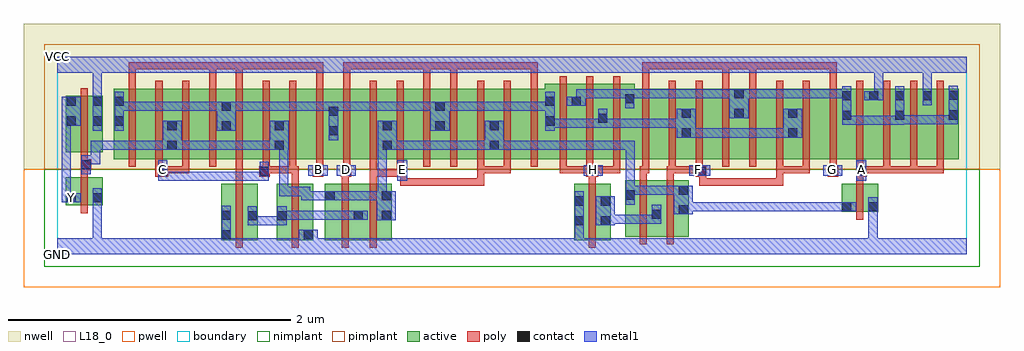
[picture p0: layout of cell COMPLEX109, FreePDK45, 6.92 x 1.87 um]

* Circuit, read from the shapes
.subckt COMPLEX109 A B C D E F G GND H VCC Y
M1 GND n1 Y VSUBS nfet w=0.2u l=0.05u
M2 n2 B GND VSUBS nfet w=0.4u l=0.05u
M3 GND C n2 VSUBS nfet w=0.4u l=0.05u
M4 n2 D n1 VSUBS nfet w=0.4u l=0.05u
M5 n1 E n2 VSUBS nfet w=0.4u l=0.05u
M6 n3 H GND VSUBS nfet w=0.4u l=0.05u
M7 n3 G n1 VSUBS nfet w=0.4u l=0.05u
M8 n1 F n3 VSUBS nfet w=0.4u l=0.05u
M9 GND A n1 VSUBS nfet w=0.2u l=0.05u
M10 VCC n1 Y n4 pfet w=0.4u l=0.05u
M11 n5 B n6 n4 pfet w=0.5u l=0.05u
M12 n1 C n5 n4 pfet w=0.5u l=0.05u
M13 n7 C n1 n4 pfet w=0.5u l=0.05u
M14 n6 B n7 n4 pfet w=0.5u l=0.05u
M15 n8 B n6 n4 pfet w=0.5u l=0.05u
M16 n1 C n8 n4 pfet w=0.5u l=0.05u
M17 n9 C n1 n4 pfet w=0.5u l=0.05u
M18 n6 B n9 n4 pfet w=0.5u l=0.05u
M19 n10 D n6 n4 pfet w=0.5u l=0.05u
M20 n1 E n10 n4 pfet w=0.5u l=0.05u
M21 n11 E n1 n4 pfet w=0.5u l=0.05u
M22 n6 D n11 n4 pfet w=0.5u l=0.05u
M23 n12 D n6 n4 pfet w=0.5u l=0.05u
M24 n1 E n12 n4 pfet w=0.5u l=0.05u
M25 n13 E n1 n4 pfet w=0.5u l=0.05u
M26 n6 D n13 n4 pfet w=0.5u l=0.05u
M27 n14 H n6 n4 pfet w=0.532u l=0.05u m=3
M28 n15 G n14 n4 pfet w=0.5u l=0.05u
M29 n6 F n15 n4 pfet w=0.5u l=0.05u
M30 n16 F n6 n4 pfet w=0.5u l=0.05u
M31 n14 G n16 n4 pfet w=0.5u l=0.05u
M32 n17 G n14 n4 pfet w=0.5u l=0.05u
M33 n6 F n17 n4 pfet w=0.5u l=0.05u
M34 n18 F n6 n4 pfet w=0.5u l=0.05u
M35 n14 G n18 n4 pfet w=0.5u l=0.05u
M36 VCC A n14 n4 pfet w=0.5u l=0.05u m=4
.ends

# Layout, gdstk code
import gdstk
lib = gdstk.Library(unit=1e-6, precision=1e-09)
def R(c, l, rs):  # rectangles x0, y0, x1, y1
    for r in rs: c.add(gdstk.rectangle(r[:2], r[2:], *l))
def A(c, l, x, y, w, h, nx, ny, dx, dy):  # array of equal rectangles
    R(c, l, [(x+i*dx, y+j*dy, x+i*dx+w, y+j*dy+h) for i in range(nx) for j in range(ny)])
active = (1, 0)
pwell = (2, 0)
nwell = (3, 0)
nimplant = (4, 0)
pimplant = (5, 0)
poly = (9, 0)
contact = (10, 0)
metal1 = (11, 0)
L18_0 = (18, 0)
boundary = (235, 0)

complex109 = lib.new_cell('COMPLEX109')
R(complex109, active, [(1.162,0.1,1.422,0.5), (1.162,0.1,1.237,0.5), (1.557,0.1,1.817,0.5), (1.742,0.1,1.817,0.5), (1.897,0.1,2.172,0.5), (2.097,0.1,2.372,0.5), (3.665,0.1,3.925,0.5), (4.027,0.125,4.287,0.525), (4.212,0.125,4.477,0.525), (1.347,0.147,1.422,0.5), (1.557,0.147,1.632,0.5), (1.897,0.147,1.972,0.5), (2.097,0.147,2.172,0.492), (2.297,0.147,2.372,0.5), (3.665,0.147,3.74,0.5), (3.85,0.147,3.925,0.5), (4.027,0.147,4.102,0.525), (4.212,0.147,4.287,0.492), (4.402,0.147,4.477,0.525), (5.562,0.3,5.637,0.5), (5.562,0.3,5.822,0.5), (5.747,0.3,5.822,0.5), (0.062,0.347,0.137,0.547), (0.062,0.347,0.322,0.547), (0.247,0.347,0.322,0.547), (0.402,0.675,0.627,1.175), (0.402,0.675,0.477,1.157), (0.627,0.675,0.852,1.175), (0.777,0.675,1.007,1.175), (1.007,0.675,1.237,1.175), (1.162,0.675,1.387,1.175), (1.387,0.675,1.612,1.175), (1.537,0.675,1.767,1.175), (1.767,0.675,1.997,1.175), (1.922,0.675,2.147,1.175), (1.922,0.675,1.997,1.157), (2.147,0.675,2.377,1.175), (2.302,0.675,2.527,1.175), (2.527,0.675,2.752,1.175), (2.677,0.675,2.907,1.175), (2.907,0.675,3.137,1.175), (3.062,0.675,3.287,1.175), (3.287,0.675,3.532,1.175), (3.457,0.675,3.717,1.207), (3.642,0.675,3.907,1.207), (3.832,0.675,4.097,1.207), (4.022,0.675,4.267,1.175), (4.267,0.675,4.497,1.175), (4.422,0.675,4.647,1.175), (4.647,0.675,4.872,1.175), (4.797,0.675,5.027,1.175), (5.027,0.675,5.252,1.175), (5.177,0.675,5.407,1.175), (5.407,0.675,5.637,1.175), (5.562,0.675,5.827,1.175), (5.752,0.675,6.012,1.175), (5.937,0.675,6.207,1.175), (6.132,0.675,6.392,1.175), (6.317,0.675,6.392,1.175), (0.777,0.682,0.852,1.07), (1.537,0.682,1.612,1.07), (2.302,0.682,2.377,1.07), (3.062,0.682,3.137,1.07), (4.422,0.682,4.497,1.07), (5.177,0.682,5.252,1.07), (0.062,0.722,0.322,1.122), (0.062,0.722,0.137,1.122), (0.247,0.722,0.322,1.122), (1.162,0.762,1.237,1.157), (2.677,0.762,2.752,1.157), (4.797,0.762,4.872,1.175), (3.457,0.775,3.532,1.157), (3.642,0.775,3.717,1.2), (3.832,0.775,3.907,1.07), (4.022,0.775,4.097,1.157), (5.562,0.807,5.637,1.162), (5.752,0.807,5.827,1.175), (5.937,0.807,6.012,1.162), (6.132,0.807,6.207,1.162)])
R(complex109, pwell, [(-0.235,-0.235,6.685,0.602)])
R(complex109, nwell, [(-0.235,0.602,6.685,1.635)])
R(complex109, nimplant, [(-0.09,-0.09,6.54,0.602)])
R(complex109, pimplant, [(-0.09,0.602,6.54,1.49)])
A(complex109, poly, 1.267, 0.575, 0.05, 0.095, 5, 1, 0.19, 0)
A(complex109, poly, 3.562, 0.575, 0.05, 0.095, 3, 1, 0.19, 0)
A(complex109, poly, 4.147, 0.575, 0.05, 0.095, 3, 1, 0.19, 0)
A(complex109, poly, 4.337, 0.575, 0.24, 0.05, 3, 1, 0.76, 0)
A(complex109, poly, 5.097, 0.575, 0.05, 0.095, 7, 1, 0.19, 0)
A(complex109, poly, 0.507, 0.62, 0.05, 0.61, 16, 1, 0.19, 0)
A(complex109, poly, 3.562, 0.62, 0.05, 0.642, 3, 1, 0.19, 0)
A(complex109, poly, 4.147, 0.62, 0.05, 0.61, 12, 1, 0.19, 0)
R(complex109, poly, [(1.267,0.045,1.317,0.555), (1.662,0.045,1.712,0.555), (2.017,0.045,2.067,0.555), (2.217,0.045,2.267,0.555), (3.77,0.045,3.82,0.555), (4.132,0.07,4.182,0.58), (4.322,0.07,4.372,0.58), (5.667,0.245,5.717,0.555), (0.167,0.292,0.217,0.602), (2.432,0.487,2.482,0.6), (2.432,0.487,2.705,0.537), (2.655,0.487,2.705,0.537), (2.655,0.487,2.705,0.537), (2.655,0.487,2.705,0.537), (2.655,0.487,2.837,0.537), (2.787,0.487,2.837,0.537), (2.787,0.487,3.027,0.537), (2.977,0.487,3.027,0.537), (2.977,0.487,3.027,0.537), (2.977,0.487,3.027,0.625), (4.552,0.487,4.735,0.537), (4.552,0.487,4.602,0.6), (4.685,0.487,4.735,0.537), (4.685,0.487,5.015,0.537), (4.965,0.487,5.015,0.537), (4.965,0.487,5.015,0.537), (4.965,0.487,5.015,0.537), (4.965,0.487,5.147,0.537), (5.097,0.487,5.147,0.537), (5.097,0.487,5.147,0.537), (5.097,0.487,5.147,0.625), (1.267,0.505,1.317,0.625), (1.662,0.505,1.712,0.625), (2.017,0.505,2.067,0.6), (2.217,0.505,2.267,0.6), (3.77,0.505,3.82,0.6), (5.667,0.505,5.717,0.6), (4.132,0.53,4.182,0.625), (4.322,0.53,4.372,0.625), (0.697,0.55,0.787,0.625), (1.432,0.55,1.507,0.625), (1.812,0.55,1.887,0.625), (2.012,0.55,2.087,0.625), (2.217,0.55,2.267,0.6), (2.217,0.55,2.267,0.6), (2.217,0.55,2.267,0.6), (2.217,0.55,2.457,0.6), (2.217,0.55,2.267,0.67), (2.407,0.55,2.482,0.625), (2.432,0.55,2.482,0.6), (3.752,0.55,3.837,0.625), (4.527,0.55,4.602,0.625), (4.552,0.55,4.602,0.6), (5.462,0.55,5.537,0.625), (5.667,0.55,5.742,0.625), (0.167,0.552,0.217,0.647), (0.697,0.575,0.747,0.67), (0.737,0.575,0.787,0.625), (0.737,0.575,0.787,0.625), (0.737,0.575,0.937,0.625), (0.887,0.575,0.937,0.67), (0.887,0.575,0.937,0.625), (1.267,0.575,1.317,0.625), (1.457,0.575,1.507,0.625), (1.457,0.575,1.507,0.625), (1.457,0.575,1.697,0.625), (1.647,0.575,1.712,0.625), (2.407,0.575,2.457,0.67), (2.977,0.575,3.027,0.67), (2.977,0.575,3.217,0.625), (3.167,0.575,3.217,0.67), (3.167,0.575,3.217,0.625), (3.167,0.575,3.217,0.625), (3.167,0.575,3.217,0.625), (3.562,0.575,3.612,0.625), (3.562,0.575,3.802,0.625), (3.752,0.575,3.802,0.625), (3.752,0.575,3.802,0.625), (3.787,0.575,3.992,0.625), (3.942,0.575,3.992,0.625), (3.942,0.575,3.992,0.625), (3.942,0.575,3.992,0.625), (4.132,0.575,4.197,0.625), (4.322,0.575,4.387,0.625), (4.337,0.575,4.387,0.625), (4.337,0.575,4.387,0.625), (5.287,0.575,5.337,0.625), (5.287,0.575,5.337,0.625), (5.287,0.575,5.337,0.625), (5.692,0.575,5.907,0.625), (5.857,0.575,5.907,0.625), (5.857,0.575,5.907,0.625), (5.857,0.575,5.907,0.625), (6.047,0.575,6.097,0.625), (6.047,0.575,6.097,0.625), (6.047,0.575,6.097,0.625), (6.047,0.575,6.287,0.625), (6.237,0.575,6.287,0.625), (6.237,0.575,6.287,0.625), (6.237,0.575,6.287,0.625), (0.167,0.597,0.242,0.672), (0.167,0.622,0.217,0.717), (0.167,0.667,0.217,1.177), (0.507,1.18,0.557,1.362), (1.077,1.18,1.127,1.362), (1.267,1.18,1.317,1.362), (1.837,1.18,1.887,1.362), (2.027,1.18,2.077,1.362), (2.597,1.18,2.647,1.362), (2.787,1.18,2.837,1.362), (3.357,1.18,3.407,1.362), (4.147,1.18,4.197,1.362), (4.717,1.18,4.767,1.362), (4.907,1.18,4.957,1.362), (5.477,1.18,5.527,1.362), (0.507,1.312,0.557,1.362), (0.507,1.312,0.557,1.362), (0.507,1.312,0.557,1.362), (0.507,1.312,0.805,1.362), (0.755,1.312,0.805,1.362), (0.755,1.312,0.805,1.362), (0.755,1.312,0.805,1.362), (0.755,1.312,0.995,1.362), (0.945,1.312,0.995,1.362), (0.945,1.312,0.995,1.362), (0.945,1.312,0.995,1.362), (0.945,1.312,1.127,1.362), (1.077,1.312,1.127,1.362), (1.077,1.312,1.127,1.362), (1.077,1.312,1.127,1.362), (1.077,1.312,1.317,1.362), (1.267,1.312,1.317,1.362), (1.267,1.312,1.317,1.362), (1.267,1.312,1.317,1.362), (1.267,1.312,1.45,1.362), (1.4,1.312,1.45,1.362), (1.4,1.312,1.64,1.362), (1.59,1.312,1.64,1.362), (1.59,1.312,1.64,1.362), (1.59,1.312,1.64,1.362), (1.59,1.312,1.887,1.362), (1.837,1.312,1.887,1.362), (1.837,1.312,1.887,1.362), (1.837,1.312,1.887,1.362), (2.027,1.312,2.077,1.362), (2.027,1.312,2.077,1.362), (2.027,1.312,2.077,1.362), (2.027,1.312,2.325,1.362), (2.275,1.312,2.325,1.362), (2.275,1.312,2.325,1.362), (2.275,1.312,2.325,1.362), (2.275,1.312,2.457,1.362), (2.407,1.312,2.457,1.362), (2.407,1.312,2.457,1.362), (2.407,1.312,2.457,1.362), (2.407,1.312,2.647,1.362), (2.597,1.312,2.647,1.362), (2.597,1.312,2.647,1.362), (2.597,1.312,2.647,1.362), (2.597,1.312,2.837,1.362), (2.787,1.312,2.837,1.362), (2.787,1.312,2.837,1.362), (2.787,1.312,2.837,1.362), (2.787,1.312,3.007,1.362), (2.957,1.312,3.007,1.362), (2.957,1.312,3.16,1.362), (3.11,1.312,3.16,1.362), (3.11,1.312,3.16,1.362), (3.11,1.312,3.16,1.362), (3.11,1.312,3.407,1.362), (3.357,1.312,3.407,1.362), (3.357,1.312,3.407,1.362), (3.357,1.312,3.407,1.362), (4.147,1.312,4.197,1.362), (4.147,1.312,4.197,1.362), (4.147,1.312,4.197,1.362), (4.147,1.312,4.33,1.362), (4.28,1.312,4.33,1.362), (4.28,1.312,4.33,1.362), (4.28,1.312,4.33,1.362), (4.28,1.312,4.52,1.362), (4.47,1.312,4.52,1.362), (4.47,1.312,4.767,1.362), (4.717,1.312,4.767,1.362), (4.717,1.312,4.767,1.362), (4.717,1.312,4.767,1.362), (4.717,1.312,4.957,1.362), (4.907,1.312,4.957,1.362), (4.907,1.312,4.957,1.362), (4.907,1.312,4.957,1.362), (4.907,1.312,5.147,1.362), (5.097,1.312,5.147,1.362), (5.097,1.312,5.147,1.362), (5.097,1.312,5.147,1.362), (5.097,1.312,5.38,1.362), (5.33,1.312,5.38,1.362), (5.33,1.312,5.38,1.362), (5.33,1.312,5.38,1.362), (5.33,1.312,5.527,1.362), (5.477,1.312,5.527,1.362), (5.477,1.312,5.527,1.362), (5.477,1.312,5.527,1.362)])
R(complex109, contact, [(1.167,0.105,1.232,0.17), (1.747,0.107,1.812,0.172), (3.67,0.205,3.735,0.27), (3.855,0.205,3.92,0.27), (1.352,0.24,1.417,0.305), (1.562,0.24,1.627,0.305), (2.302,0.242,2.367,0.307), (1.167,0.245,1.232,0.31), (2.102,0.245,2.167,0.31), (4.217,0.25,4.282,0.315), (4.407,0.282,4.472,0.347), (5.567,0.305,5.632,0.37), (5.752,0.305,5.817,0.37), (3.67,0.345,3.735,0.41), (3.855,0.345,3.92,0.41), (0.067,0.367,0.132,0.432), (0.252,0.367,0.317,0.432), (1.902,0.382,1.967,0.447), (2.302,0.382,2.367,0.447), (4.032,0.387,4.097,0.452), (4.407,0.422,4.472,0.487), (0.717,0.555,0.782,0.62), (1.437,0.555,1.502,0.62), (1.817,0.555,1.882,0.62), (2.017,0.555,2.082,0.62), (2.412,0.555,2.477,0.62), (3.767,0.555,3.832,0.62), (4.532,0.555,4.597,0.62), (5.467,0.555,5.532,0.62), (5.672,0.555,5.737,0.62), (0.172,0.602,0.237,0.667), (0.782,0.74,0.847,0.805), (1.542,0.74,1.607,0.805), (2.307,0.74,2.372,0.805), (3.067,0.74,3.132,0.805), (4.427,0.827,4.492,0.892), (5.182,0.827,5.247,0.892), (1.927,0.842,1.992,0.907), (1.167,0.877,1.232,0.942), (2.682,0.877,2.747,0.942), (0.782,0.88,0.847,0.945), (1.542,0.88,1.607,0.945), (2.307,0.88,2.372,0.945), (3.067,0.88,3.132,0.945), (0.067,0.912,0.132,0.977), (0.252,0.912,0.317,0.977), (0.407,0.912,0.472,0.977), (3.462,0.912,3.527,0.977), (3.837,0.932,3.902,0.997), (5.567,0.952,5.632,1.017), (5.942,0.952,6.007,1.017), (6.322,0.955,6.387,1.02), (4.802,0.965,4.867,1.03), (4.427,0.967,4.492,1.032), (5.182,0.967,5.247,1.032), (1.927,0.982,1.992,1.047), (1.167,1.017,1.232,1.082), (2.682,1.017,2.747,1.082), (0.067,1.052,0.132,1.117), (0.252,1.052,0.317,1.117), (0.407,1.052,0.472,1.117), (3.462,1.052,3.527,1.117), (3.647,1.052,3.712,1.117), (4.027,1.07,4.092,1.135), (5.567,1.092,5.632,1.157), (5.757,1.092,5.822,1.157), (5.942,1.092,6.007,1.157), (6.137,1.092,6.202,1.157), (6.322,1.095,6.387,1.16), (4.802,1.105,4.867,1.17)])
R(complex109, metal1, [(0,0,6.45,0.115), (0.252,0.05,0.317,0.115), (0.252,0.05,0.317,0.115), (0.252,0.05,0.317,0.115), (0.252,0.05,0.317,0.115), (0.252,0.05,0.317,0.397), (1.167,0.05,1.232,0.135), (1.782,0.05,1.847,0.172), (3.67,0.05,3.735,0.235), (5.752,0.05,5.817,0.335), (1.167,0.07,1.232,0.345), (1.712,0.107,1.847,0.172), (3.67,0.17,3.735,0.445), (1.352,0.205,1.417,0.27), (1.352,0.205,1.417,0.27), (1.352,0.205,1.417,0.34), (1.352,0.205,1.627,0.27), (1.562,0.205,1.627,0.34), (3.82,0.205,3.955,0.41), (3.89,0.215,3.955,0.28), (3.89,0.215,3.955,0.28), (3.89,0.215,4.097,0.28), (4.032,0.215,4.097,0.28), (4.032,0.215,4.097,0.28), (4.032,0.215,4.097,0.28), (4.032,0.215,4.282,0.28), (4.217,0.215,4.282,0.35), (2.267,0.242,2.402,0.447), (1.562,0.245,1.64,0.31), (1.575,0.245,1.64,0.31), (1.575,0.245,1.777,0.31), (1.712,0.245,1.777,0.31), (1.712,0.245,1.777,0.31), (1.712,0.245,1.777,0.31), (1.712,0.245,1.947,0.31), (1.882,0.245,1.947,0.31), (1.882,0.245,1.947,0.31), (1.882,0.245,1.947,0.31), (1.882,0.245,2.132,0.31), (2.067,0.245,2.202,0.31), (5.752,0.27,5.817,0.335), (5.752,0.27,5.817,0.335), (5.752,0.27,5.817,0.335), (5.752,0.27,5.817,0.335), (5.752,0.27,5.817,0.405), (4.372,0.282,4.507,0.487), (4.442,0.305,4.527,0.37), (4.462,0.305,4.527,0.37), (4.462,0.305,4.665,0.37), (4.6,0.305,4.665,0.37), (4.6,0.305,4.902,0.37), (4.837,0.305,4.902,0.37), (4.837,0.305,4.902,0.37), (4.837,0.305,4.902,0.37), (4.837,0.305,5.04,0.37), (4.975,0.305,5.04,0.37), (4.975,0.305,5.04,0.37), (4.975,0.305,5.04,0.37), (4.975,0.305,5.177,0.37), (5.112,0.305,5.177,0.37), (5.112,0.305,5.315,0.37), (5.25,0.305,5.315,0.37), (5.25,0.305,5.315,0.37), (5.25,0.305,5.315,0.37), (5.25,0.305,5.46,0.37), (5.395,0.305,5.46,0.37), (5.395,0.305,5.46,0.37), (5.395,0.305,5.46,0.37), (5.395,0.305,5.597,0.37), (5.532,0.305,5.667,0.37), (0.252,0.332,0.317,0.467), (4.032,0.352,4.097,0.487), (0.032,0.367,0.097,0.432), (0.032,0.367,0.097,0.432), (0.032,0.367,0.167,0.432), (0.032,0.367,0.097,0.977), (1.73,0.382,1.932,0.447), (1.73,0.382,1.795,0.477), (1.867,0.382,2.002,0.447), (1.937,0.382,2.002,0.447), (1.937,0.382,2.002,0.447), (1.937,0.382,2.195,0.447), (2.13,0.382,2.195,0.447), (2.13,0.382,2.195,0.447), (2.13,0.382,2.195,0.447), (2.13,0.382,2.332,0.447), (2.272,0.382,2.337,0.447), (2.272,0.382,2.337,0.447), (2.272,0.382,2.337,0.805), (1.575,0.412,1.64,0.477), (1.575,0.412,1.64,0.477), (1.575,0.412,1.64,0.477), (1.575,0.412,1.64,0.477), (1.575,0.412,1.64,0.477), (1.575,0.412,1.795,0.477), (1.575,0.412,1.64,0.805), (1.73,0.412,1.795,0.477), (1.73,0.412,1.795,0.477), (4.032,0.422,4.235,0.487), (4.032,0.422,4.097,0.805), (4.17,0.422,4.235,0.487), (4.17,0.422,4.235,0.487), (4.17,0.422,4.235,0.487), (4.17,0.422,4.39,0.487), (4.325,0.422,4.39,0.487), (4.325,0.422,4.437,0.487), (0.717,0.52,0.922,0.585), (0.717,0.52,0.782,0.667), (0.857,0.52,0.922,0.585), (0.857,0.52,0.922,0.585), (0.857,0.52,0.922,0.585), (0.857,0.52,1.06,0.585), (0.995,0.52,1.06,0.585), (0.995,0.52,1.06,0.585), (0.995,0.52,1.06,0.585), (0.995,0.52,1.197,0.585), (1.132,0.52,1.197,0.585), (1.132,0.52,1.197,0.585), (1.132,0.52,1.197,0.585), (1.132,0.52,1.435,0.585), (1.37,0.52,1.435,0.585), (1.37,0.52,1.502,0.585), (1.437,0.52,1.502,0.655), (2.412,0.52,2.482,0.667), (5.667,0.52,5.737,0.667), (1.782,0.555,1.917,0.632), (1.982,0.555,2.117,0.632), (3.732,0.555,3.867,0.632), (4.482,0.555,4.632,0.632), (5.432,0.555,5.567,0.632), (0.172,0.567,0.237,0.702), (0.172,0.637,0.305,0.702), (0.24,0.637,0.305,0.702), (0.24,0.637,0.305,0.805), (0.24,0.74,0.305,0.805), (0.24,0.74,0.442,0.805), (0.377,0.74,0.442,0.805), (0.377,0.74,0.442,0.805), (0.377,0.74,0.442,0.805), (0.377,0.74,0.61,0.805), (0.545,0.74,0.61,0.805), (0.545,0.74,0.61,0.805), (0.545,0.74,0.61,0.805), (0.545,0.74,0.812,0.805), (0.747,0.74,0.882,0.945), (0.817,0.74,0.92,0.805), (0.855,0.74,0.92,0.805), (0.855,0.74,1.06,0.805), (0.995,0.74,1.06,0.805), (0.995,0.74,1.06,0.805), (0.995,0.74,1.06,0.805), (0.995,0.74,1.197,0.805), (1.132,0.74,1.197,0.805), (1.132,0.74,1.197,0.805), (1.132,0.74,1.197,0.805), (1.132,0.74,1.435,0.805), (1.37,0.74,1.435,0.805), (1.37,0.74,1.435,0.805), (1.37,0.74,1.435,0.805), (1.37,0.74,1.572,0.805), (1.507,0.74,1.642,0.945), (2.272,0.74,2.407,0.945), (2.342,0.74,2.407,0.805), (2.342,0.74,2.407,0.805), (2.342,0.74,2.575,0.805), (2.51,0.74,2.575,0.805), (2.51,0.74,2.712,0.805), (2.647,0.74,2.712,0.805), (2.647,0.74,2.712,0.805), (2.647,0.74,2.712,0.805), (2.647,0.74,2.92,0.805), (2.855,0.74,2.92,0.805), (2.855,0.74,2.92,0.805), (2.855,0.74,2.92,0.805), (2.855,0.74,3.097,0.805), (3.032,0.74,3.097,0.805), (3.032,0.74,3.097,0.805), (3.032,0.74,3.167,0.945), (3.102,0.74,3.235,0.805), (3.17,0.74,3.235,0.805), (3.17,0.74,3.39,0.805), (3.325,0.74,3.39,0.805), (3.325,0.74,3.39,0.805), (3.325,0.74,3.39,0.805), (3.325,0.74,3.54,0.805), (3.475,0.74,3.54,0.805), (3.475,0.74,3.54,0.805), (3.475,0.74,3.54,0.805), (3.475,0.74,3.747,0.805), (3.682,0.74,3.747,0.805), (3.682,0.74,3.747,0.805), (3.682,0.74,3.747,0.805), (3.682,0.74,3.885,0.805), (3.82,0.74,3.885,0.805), (3.82,0.74,3.885,0.805), (3.82,0.74,3.885,0.805), (3.82,0.74,4.097,0.805), (4.032,0.74,4.097,0.805), (4.032,0.74,4.097,0.805), (4.032,0.74,4.097,0.805), (1.927,0.807,1.992,1.082), (4.392,0.827,4.527,1.032), (4.462,0.827,4.527,0.892), (4.462,0.827,4.527,0.892), (4.462,0.827,4.695,0.892), (4.63,0.827,4.695,0.892), (4.63,0.827,4.695,0.892), (4.63,0.827,4.695,0.892), (4.63,0.827,4.832,0.892), (4.767,0.827,4.832,0.892), (4.767,0.827,5.04,0.892), (4.975,0.827,5.04,0.892), (4.975,0.827,5.04,0.892), (4.975,0.827,5.04,0.892), (4.975,0.827,5.177,0.892), (5.112,0.827,5.177,0.892), (5.112,0.827,5.212,0.892), (5.147,0.827,5.282,1.032), (0.252,0.877,0.317,1.152), (0.407,0.877,0.472,1.152), (1.132,0.877,1.267,1.082), (2.647,0.877,2.782,1.082), (3.462,0.877,3.527,1.152), (3.462,0.897,3.527,0.962), (3.462,0.897,3.527,0.962), (3.462,0.897,3.747,0.962), (3.682,0.897,3.747,0.962), (3.682,0.897,3.747,0.962), (3.682,0.897,3.747,0.962), (3.682,0.897,3.902,0.962), (3.837,0.897,3.902,0.962), (3.837,0.897,3.902,0.962), (3.837,0.897,3.902,1.032), (3.837,0.897,4.092,0.962), (4.027,0.897,4.092,0.962), (4.027,0.897,4.252,0.962), (4.187,0.897,4.252,0.962), (4.187,0.897,4.252,0.962), (4.187,0.897,4.252,0.962), (4.187,0.897,4.39,0.962), (4.325,0.897,4.39,0.962), (4.325,0.897,4.457,0.962), (0.032,0.912,0.097,0.977), (0.032,0.912,0.097,0.977), (0.032,0.912,0.167,1.117), (5.567,0.917,5.632,0.982), (5.567,0.917,5.632,0.982), (5.567,0.917,5.632,1.192), (5.567,0.917,5.77,0.982), (5.705,0.917,5.77,0.982), (5.705,0.917,5.77,0.982), (5.705,0.917,5.77,0.982), (5.705,0.917,6.007,0.982), (5.942,0.917,6.007,0.982), (5.942,0.917,6.007,0.982), (5.942,0.917,6.007,1.192), (5.942,0.92,6.145,0.985), (6.08,0.92,6.145,0.985), (6.08,0.92,6.145,0.985), (6.08,0.92,6.145,0.985), (6.08,0.92,6.387,0.985), (6.322,0.92,6.387,0.985), (6.322,0.92,6.387,0.985), (6.322,0.92,6.387,1.195), (4.767,0.965,4.902,1.17), (0.407,1.017,0.472,1.082), (0.407,1.017,0.472,1.082), (0.407,1.017,0.61,1.082), (0.545,1.017,0.61,1.082), (0.545,1.017,0.782,1.082), (0.717,1.017,0.782,1.082), (0.717,1.017,0.92,1.082), (0.855,1.017,0.92,1.082), (0.855,1.017,0.92,1.082), (0.855,1.017,0.92,1.082), (0.855,1.017,1.06,1.082), (0.995,1.017,1.06,1.082), (0.995,1.017,1.06,1.082), (0.995,1.017,1.06,1.082), (0.995,1.017,1.197,1.082), (1.202,1.017,1.267,1.082), (1.202,1.017,1.267,1.082), (1.202,1.017,1.435,1.082), (1.37,1.017,1.435,1.082), (1.37,1.017,1.435,1.082), (1.37,1.017,1.435,1.082), (1.37,1.017,1.64,1.082), (1.575,1.017,1.64,1.082), (1.575,1.017,1.64,1.082), (1.575,1.017,1.64,1.082), (1.575,1.017,1.777,1.082), (1.712,1.017,1.777,1.082), (1.712,1.017,1.777,1.082), (1.712,1.017,1.777,1.082), (1.712,1.017,1.992,1.082), (1.927,1.017,1.992,1.082), (1.927,1.017,1.992,1.082), (1.927,1.017,2.14,1.082), (2.075,1.017,2.14,1.082), (2.075,1.017,2.14,1.082), (2.075,1.017,2.14,1.082), (2.075,1.017,2.407,1.082), (2.342,1.017,2.407,1.082), (2.342,1.017,2.545,1.082), (2.48,1.017,2.545,1.082), (2.48,1.017,2.545,1.082), (2.48,1.017,2.545,1.082), (2.48,1.017,2.712,1.082), (2.647,1.017,2.712,1.082), (2.647,1.017,2.712,1.082), (2.717,1.017,2.92,1.082), (2.855,1.017,2.92,1.082), (2.855,1.017,2.92,1.082), (2.855,1.017,2.92,1.082), (2.855,1.017,3.057,1.082), (2.992,1.017,3.057,1.082), (2.992,1.017,3.235,1.082), (3.17,1.017,3.235,1.082), (3.17,1.017,3.235,1.082), (3.17,1.017,3.235,1.082), (3.17,1.017,3.39,1.082), (3.325,1.017,3.39,1.082), (3.325,1.017,3.39,1.082), (3.325,1.017,3.39,1.082), (3.325,1.017,3.527,1.082), (4.027,1.035,4.092,1.17), (3.612,1.052,3.747,1.117), (3.682,1.052,3.747,1.117), (3.682,1.052,3.747,1.17), (6.137,1.057,6.202,1.192), (0.252,1.087,0.317,1.35), (5.722,1.092,5.857,1.157), (5.792,1.092,5.857,1.35), (3.682,1.105,3.955,1.17), (3.89,1.105,3.955,1.17), (3.89,1.105,3.955,1.17), (3.89,1.105,3.955,1.17), (3.89,1.105,4.092,1.17), (4.027,1.105,4.092,1.17), (4.027,1.105,4.092,1.17), (4.027,1.105,4.3,1.17), (4.235,1.105,4.3,1.17), (4.235,1.105,4.39,1.17), (4.325,1.105,4.39,1.17), (4.325,1.105,4.527,1.17), (4.462,1.105,4.527,1.17), (4.462,1.105,4.527,1.17), (4.462,1.105,4.527,1.17), (4.462,1.105,4.695,1.17), (4.63,1.105,4.695,1.17), (4.63,1.105,4.832,1.17), (4.767,1.105,4.832,1.17), (4.767,1.105,4.832,1.17), (4.837,1.105,5.04,1.17), (4.975,1.105,5.04,1.17), (4.975,1.105,5.04,1.17), (4.975,1.105,5.04,1.17), (4.975,1.105,5.177,1.17), (5.112,1.105,5.177,1.17), (5.112,1.105,5.177,1.17), (5.112,1.105,5.177,1.17), (5.112,1.105,5.322,1.17), (5.257,1.105,5.322,1.17), (5.257,1.105,5.46,1.17), (5.395,1.105,5.46,1.17), (5.395,1.105,5.46,1.17), (5.395,1.105,5.46,1.17), (5.395,1.105,5.632,1.17), (6.137,1.127,6.202,1.35), (0,1.285,6.45,1.4), (0.252,1.285,0.317,1.35), (0.252,1.285,0.317,1.35), (5.792,1.285,5.857,1.35), (5.792,1.285,5.857,1.35), (6.137,1.285,6.202,1.35), (6.137,1.285,6.202,1.35)])
R(complex109, L18_0, [(0,0,6.45,0.115), (0.252,0.05,0.317,0.115), (0.252,0.05,0.317,0.115), (0.252,0.05,0.317,0.115), (0.252,0.05,0.317,0.115), (0.252,0.05,0.317,0.397), (1.167,0.05,1.232,0.135), (1.782,0.05,1.847,0.172), (3.67,0.05,3.735,0.235), (5.752,0.05,5.817,0.335), (1.167,0.07,1.232,0.345), (1.712,0.107,1.847,0.172), (3.67,0.17,3.735,0.445), (5.752,0.27,5.817,0.335), (5.752,0.27,5.817,0.335), (5.752,0.27,5.817,0.335), (5.752,0.27,5.817,0.335), (5.752,0.27,5.817,0.405), (0.252,0.332,0.317,0.467), (0.032,0.367,0.167,0.432), (0.032,0.367,0.097,0.432), (0.032,0.367,0.097,0.432), (0.032,0.367,0.097,0.977), (0.067,0.367,0.132,0.432), (0.717,0.52,0.782,0.667), (0.717,0.52,0.922,0.585), (0.857,0.52,0.922,0.585), (0.857,0.52,0.922,0.585), (0.857,0.52,0.922,0.585), (0.857,0.52,1.06,0.585), (0.995,0.52,1.06,0.585), (0.995,0.52,1.06,0.585), (0.995,0.52,1.06,0.585), (0.995,0.52,1.197,0.585), (1.132,0.52,1.197,0.585), (1.132,0.52,1.197,0.585), (1.132,0.52,1.197,0.585), (1.132,0.52,1.435,0.585), (1.37,0.52,1.435,0.585), (1.37,0.52,1.502,0.585), (1.437,0.52,1.502,0.655), (2.412,0.52,2.482,0.667), (5.667,0.52,5.737,0.667), (1.782,0.555,1.917,0.632), (1.982,0.555,2.117,0.632), (3.732,0.555,3.867,0.632), (4.482,0.555,4.632,0.632), (5.432,0.555,5.567,0.632), (0.717,0.567,0.782,0.632), (1.817,0.567,1.882,0.632), (2.017,0.567,2.082,0.632), (2.417,0.567,2.482,0.632), (3.767,0.567,3.832,0.632), (4.517,0.567,4.582,0.632), (5.467,0.567,5.532,0.632), (5.667,0.567,5.732,0.632), (0.252,0.877,0.317,1.152), (0.032,0.912,0.097,0.977), (0.032,0.912,0.097,0.977), (0.032,0.912,0.167,1.117), (6.137,1.057,6.202,1.192), (0.252,1.087,0.317,1.35), (5.722,1.092,5.857,1.157), (5.792,1.092,5.857,1.35), (6.137,1.127,6.202,1.35), (0,1.285,6.45,1.4), (0.252,1.285,0.317,1.35), (0.252,1.285,0.317,1.35), (5.792,1.285,5.857,1.35), (5.792,1.285,5.857,1.35), (6.137,1.285,6.202,1.35), (6.137,1.285,6.202,1.35)])
R(complex109, boundary, [(0,0,6.45,1.4)])
complex109.add(gdstk.Label('A', (5.7,0.6), layer=11, texttype=0))
complex109.add(gdstk.Label('B', (1.85,0.6), layer=11, texttype=0))
complex109.add(gdstk.Label('C', (0.75,0.6), layer=11, texttype=0))
complex109.add(gdstk.Label('D', (2.05,0.6), layer=11, texttype=0))
complex109.add(gdstk.Label('E', (2.45,0.6), layer=11, texttype=0))
complex109.add(gdstk.Label('F', (4.55,0.6), layer=11, texttype=0))
complex109.add(gdstk.Label('G', (5.5,0.6), layer=11, texttype=0))
complex109.add(gdstk.Label('H', (3.8,0.6), layer=11, texttype=0))
complex109.add(gdstk.Label('Y', (0.1,0.4), layer=11, texttype=0))
complex109.add(gdstk.Label('VCC', (0,1.4), layer=11, texttype=0))
complex109.add(gdstk.Label('GND', (0,0), layer=11, texttype=0))

lib.write_gds('COMPLEX109.gds')
